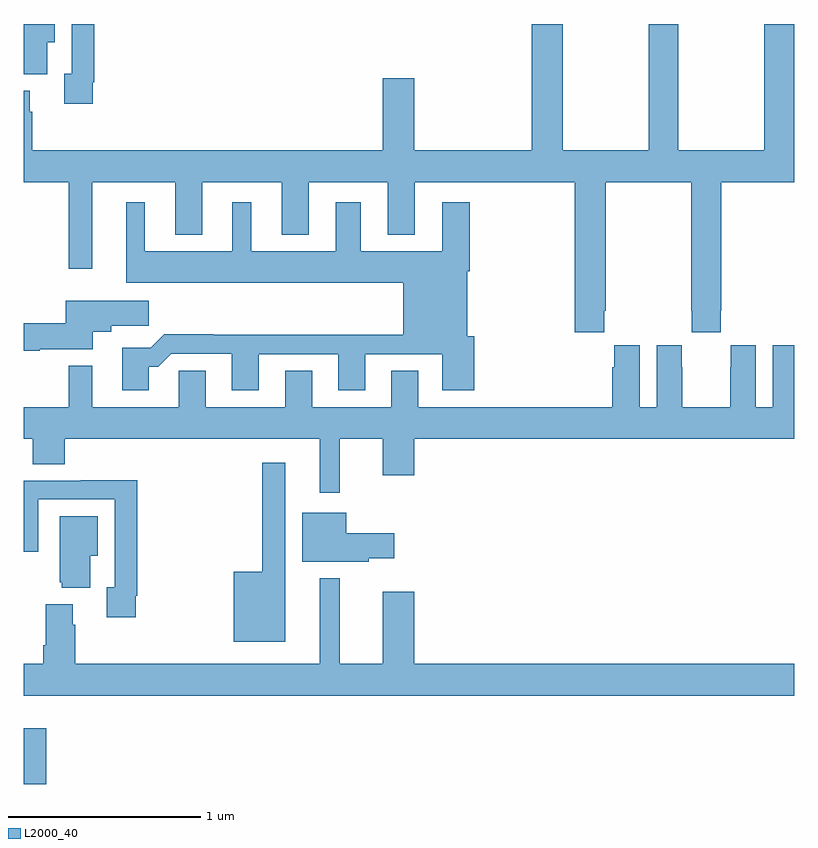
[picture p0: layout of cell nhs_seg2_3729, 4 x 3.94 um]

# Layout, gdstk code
import gdstk
lib = gdstk.Library(unit=1e-6, precision=1e-09)
def R(c, l, rs):  # rectangles x0, y0, x1, y1
    for r in rs: c.add(gdstk.rectangle(r[:2], r[2:], *l))
def P(c, l, *ps):  # polygons
    for p in ps: c.add(gdstk.Polygon(p, *l))
L2000_40 = (2000, 40)

nhs_seg2_3729 = lib.new_cell('nhs_seg2_3729')
R(nhs_seg2_3729, L2000_40, [(307,633.857,307.118,634.147)])
P(nhs_seg2_3729, L2000_40, [(310.013,636.313),(310.02,636.313),(310.02,636.98),(310.465,636.98),(310.465,636.313),(310.467,636.313),(310.467,636.201),(310.617,636.201),(310.617,636.313),(310.62,636.313),(310.62,636.98),(311,636.98),(311,637.144),(310.998,637.144),(310.998,637.8),(310.843,637.8),(310.843,637.144),(310.398,637.144),(310.398,637.8),(310.243,637.8),(310.243,637.144),(309.798,637.144),(309.798,637.8),(309.638,637.8),(309.638,637.144),(309.028,637.144),(309.028,637.519),(308.864,637.519),(308.864,637.144),(307.046,637.144),(307.046,637.346),(307.033,637.346),(307.033,637.453),(307,637.453),(307,636.98),(307.236,636.98),(307.236,636.531),(307.357,636.531),(307.357,636.98),(307.787,636.98),(307.787,636.707),(307.927,636.707),(307.927,636.98),(308.339,636.98),(308.339,636.707),(308.479,636.707),(308.479,636.98),(308.891,636.98),(308.891,636.707),(309.031,636.707),(309.031,636.98),(309.86,636.98),(309.86,636.201),(310.013,636.201)],
  [(307.36,637.498),(307.367,637.498),(307.367,637.8),(307.251,637.8),(307.251,637.542),(307.211,637.542),(307.211,637.386),(307.36,637.386)],
  [(307.123,637.706),(307.162,637.706),(307.162,637.8),(307,637.8),(307,637.538),(307.123,637.538)],
  [(307.651,636.023),(307.7,636.023),(307.767,636.09),(308.081,636.09),(308.081,635.901),(308.221,635.901),(308.221,636.087),(308.633,636.087),(308.633,635.901),(308.773,635.901),(308.773,636.087),(309.173,636.087),(309.173,635.901),(309.338,635.901),(309.338,636.18),(309.301,636.18),(309.301,636.518),(309.314,636.518),(309.314,636.874),(309.173,636.874),(309.173,636.622),(308.749,636.622),(308.749,636.874),(308.621,636.874),(308.621,636.622),(308.182,636.622),(308.182,636.874),(308.084,636.874),(308.084,636.622),(307.63,636.622),(307.63,636.874),(307.532,636.874),(307.532,636.458),(308.969,636.458),(308.969,636.188),(307.985,636.188),(307.985,636.191),(307.73,636.191),(307.66,636.121),(307.511,636.121),(307.511,635.901),(307.651,635.901)],
  [(307.084,636.113),(307.36,636.113),(307.36,636.203),(307.456,636.203),(307.456,636.235),(307.651,636.235),(307.651,636.364),(307.22,636.364),(307.22,636.248),(307,636.248),(307,636.106),(307.084,636.106)],
  [(308.641,635.648),(308.864,635.648),(308.864,635.46),(309.028,635.46),(309.028,635.648),(311,635.648),(311,636.133),(310.886,636.133),(310.886,635.812),(310.798,635.812),(310.798,636.133),(310.668,636.133),(310.668,636.02),(310.667,636.02),(310.667,635.812),(310.417,635.812),(310.417,636.02),(310.416,636.02),(310.416,636.133),(310.286,636.133),(310.286,635.812),(310.198,635.812),(310.198,636.133),(310.064,636.133),(310.064,636.02),(310.055,636.02),(310.055,635.812),(309.049,635.812),(309.049,636.002),(308.909,636.002),(308.909,635.812),(308.497,635.812),(308.497,636.002),(308.357,636.002),(308.357,635.812),(307.945,635.812),(307.945,636.002),(307.806,636.002),(307.806,635.812),(307.357,635.812),(307.357,636.028),(307.236,636.028),(307.236,635.812),(307,635.812),(307,635.648),(307.049,635.648),(307.049,635.515),(307.214,635.515),(307.214,635.648),(308.537,635.648),(308.537,635.367),(308.641,635.367)],
  [(308.359,635.524),(308.238,635.524),(308.238,634.957),(308.09,634.957),(308.09,634.595),(308.359,634.595)],
  [(307.582,634.834),(307.589,634.834),(307.589,635.432),(307.297,635.432),(307.297,635.43),(307,635.43),(307,635.061),(307.077,635.061),(307.077,635.334),(307.473,635.334),(307.473,634.878),(307.433,634.878),(307.433,634.722),(307.582,634.722)],
  [(308.79,635.027),(308.923,635.027),(308.923,635.157),(308.674,635.157),(308.674,635.263),(308.447,635.263),(308.447,635.009),(308.79,635.009)],
  [(307.345,635.042),(307.384,635.042),(307.384,635.245),(307.187,635.245),(307.187,634.905),(307.199,634.905),(307.199,634.874),(307.345,634.874)],
  [(311,634.48),(309.028,634.48),(309.028,634.855),(308.864,634.855),(308.864,634.48),(308.641,634.48),(308.641,634.924),(308.537,634.924),(308.537,634.48),(307.268,634.48),(307.268,634.682),(307.255,634.682),(307.255,634.789),(307.115,634.789),(307.115,634.576),(307.103,634.576),(307.103,634.48),(307,634.48),(307,634.316),(311,634.316)])

lib.write_gds('nhs_seg2_3729.gds')
